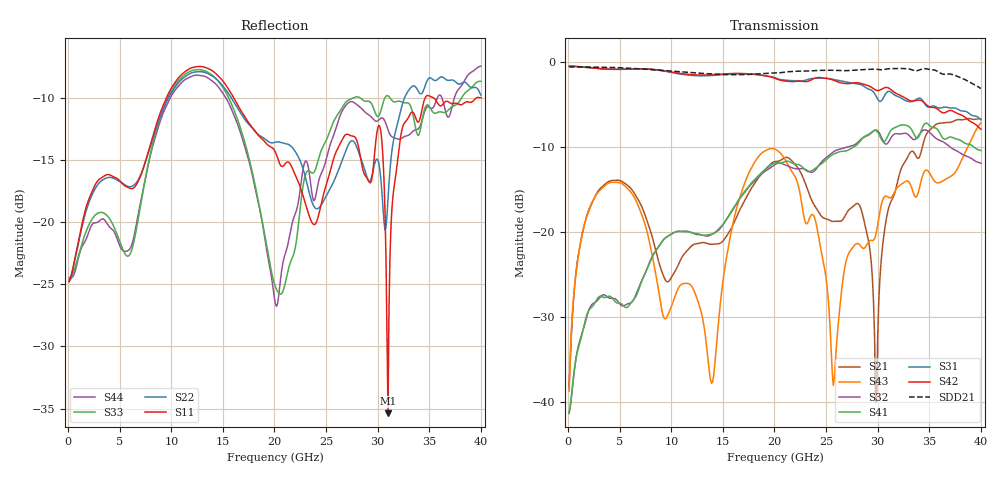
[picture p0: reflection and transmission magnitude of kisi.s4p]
! BV_ts_m2_per0_std_e35: /TS-USB4 Components/M2_PER0_P via F.Cu→In3.Cu at (161.287, 130.742) with its partner
! stackup: Thunderscope_Rev5.3 from the board file and its kisi.json
! ports: 1 P in, 2 N in, 3 P out, 4 N out
! kisi-fdtd, conformal, dfine 0.035 mm, 1029952 cells
# Hz S RI R 50
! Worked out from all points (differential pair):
!   400 points, 100 MHz to 40 GHz, reference 50 ohm
!   strongest paths, dB at 100 MHz, 10.1 GHz, 20.1 GHz, 30.1 GHz, 40 GHz:
!     S42: -0.5, -1.2, -2.0, -3.4, -7.9
!     S31: -0.5, -1.3, -1.9, -4.6, -6.8
!     S41: -41.3, -20.2, -11.9, -8.5, -10.4
!     S32: -41.3, -20.2, -12.0, -8.3, -11.9
!     S43: -38.7, -28.5, -10.3, -18.4, -7.2
!     S21: -38.3, -25.2, -11.7, -28.4, -6.7
!   taken as a pair (ports 2,1 in; 4,3 out), SDD21 dB: -0.6, -1.1, -1.3, -0.9, -3.1
!   lowest |S11| = -35.4 dB at 31 GHz (marker M1), VSWR 1.03, Z = 51.3 + j1.18 ohm
!   |S11| at or under -10 dB: start of sweep to 9.537 GHz; 16.05 GHz to 34.61 GHz (18.56 GHz wide, 73.3 % of centre); 35.38 GHz to 39.6 GHz (4.225 GHz wide, 11.3 % of centre)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
1e8  -0.0569 0.00794  0.00916 0.00734  0.9427 -0.0378  0.00939 -0.00273
     0.0103 0.00657  -0.058 0.00801  0.00932 -0.00265  0.941 -0.0371
     0.9404 -0.0363  0.00833 -0.00203  -0.0574 0.00781  0.00847 0.00793
     0.00841 -0.00201  0.9405 -0.0368  0.00867 0.00767  -0.0592 0.00843
8.1e9  0.1163 0.1792  0.031 -0.09  -0.9003 -0.0563  -0.0103 0.0688
       0.0317 -0.0905  0.1186 0.1725  -0.0106 0.0693  -0.9016 -0.057
       -0.9015 -0.0556  -0.0109 0.0698  -0.1055 0.1676  0.024 -0.0713
       -0.0107 0.0691  -0.9016 -0.0567  0.0238 -0.0715  -0.1099 0.1606
1.63e10  0.2337 -0.1922  -0.1064 0.058  0.8393 0.1415  0.0463 -0.1395
         -0.107 0.0572  0.2346 -0.1741  0.0507 -0.1369  0.8449 0.13
         0.8394 0.1426  0.0509 -0.1368  -0.076 -0.2557  0.0275 0.1321
         0.0464 -0.1392  0.8451 0.1297  0.0273 0.1325  -0.0902 -0.2387
2.47e10  -0.0524 0.1155  0.108 -0.0559  -0.7966 -0.0875  0.039 0.2529
         0.1083 -0.0547  -0.0847 0.0855  0.00911 0.2633  -0.7993 -0.0821
         -0.7965 -0.0878  0.00891 0.2631  0.00692 0.2009  0.0113 -0.0698
         0.039 0.2525  -0.7996 -0.081  0.0114 -0.0671  0.0198 0.1612
2.98e10  0.1812 0.1023  -0.002 -0.0101  0.2474 0.5817  0.2574 -0.3001
         -0.00679 -0.00729  0.1451 0.1006  0.2795 -0.2815  0.2348 0.6421
         0.2512 0.5836  0.2798 -0.2813  0.2707 -0.0321  0.0906 0.0297
         0.257 -0.3004  0.2318 0.6425  0.0901 0.0308  0.249 -0.0525
3.1e10  0.0125 0.0116  -0.1259 0.0334  0.438 0.5033  0.1061 -0.3538
        -0.1275 0.0398  0.0494 0.1139  0.0988 -0.3189  0.5145 0.4789
        0.443 0.5017  0.0992 -0.3188  0.304 -0.1055  0.1595 -0.00768
        0.1057 -0.3535  0.5126 0.4818  0.1599 -0.00714  0.2007 -0.1218
4e10  0.3111 -0.056  -0.2027 -0.4169  -0.3931 -0.2326  0.2577 0.1561
      -0.1981 -0.4156  0.2349 -0.2225  0.1387 0.2105  -0.3419 -0.2136
      -0.3931 -0.2311  0.1405 0.211  -0.3159 0.1886  0.1353 0.4172
      0.2562 0.1582  -0.3413 -0.2118  0.1398 0.4151  -0.3652 0.2141
